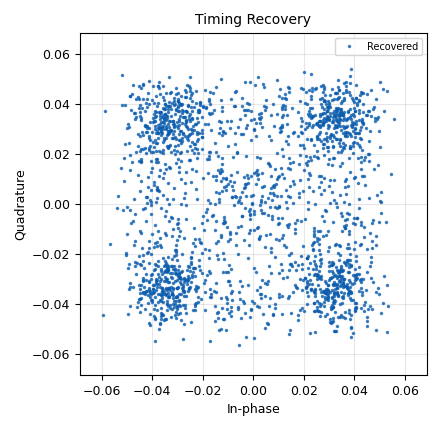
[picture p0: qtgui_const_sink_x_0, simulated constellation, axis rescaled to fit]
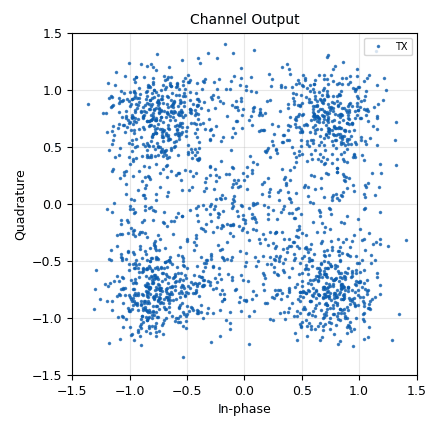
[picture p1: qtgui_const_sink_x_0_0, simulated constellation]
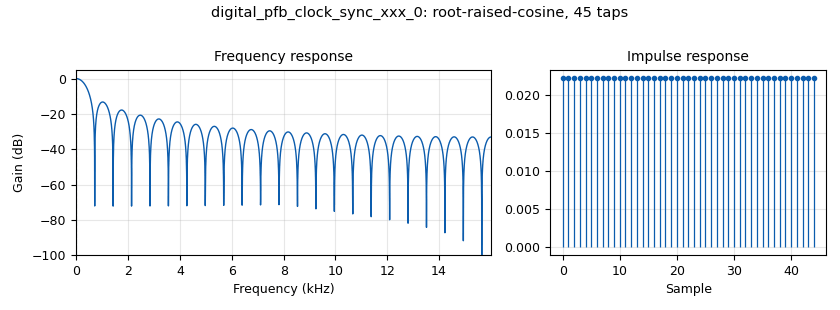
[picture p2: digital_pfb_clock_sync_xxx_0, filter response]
options:
  parameters:
    author: danny
    generate_options: qt_gui
    id: test
    output_language: python
    title: Not titled yet
  states: {}

blocks:
- name: alpha
  id: variable
  parameters:
    value: '0.35'
  states: {}
- name: freq_offset
  id: variable_qtgui_range
  parameters:
    label: Channel Frequency Offset
    orient: Qt.Horizontal
    start: '-100e-3'
    step: '1e-3'
    stop: '100e-3'
    value: '0'
  states: {}
- name: noise_volt
  id: variable_qtgui_range
  parameters:
    label: Channel Noise Voltage
    orient: Qt.Horizontal
    start: '0'
    step: '0.1'
    stop: '1'
    value: '.2'
  states: {}
- name: qpsk
  id: variable_constellation_rect
  parameters:
    const_points: '[-1-1j, -1+1j, 1+1j, 1-1j]'
    imag_sect: '2'
    real_sect: '2'
    rot_sym: '4'
    sym_map: '[0, 1, 3, 2]'
    w_imag_sect: '1'
    w_real_sect: '1'
  states: {}
- name: rrc_taps
  id: variable_rrc_filter_taps
  parameters:
    alpha: alpha
    gain: '1.0'
    ntaps: 11*sps
    samp_rate: samp_rate
    sym_rate: sps
  states: {}
- name: samp_rate
  id: variable
  parameters:
    value: '32000'
  states: {}
- name: sps
  id: variable
  parameters:
    value: '4'
  states: {}
- name: time_offset
  id: variable_qtgui_range
  parameters:
    label: Channel Time Offset
    orient: Qt.Horizontal
    start: '.999'
    step: '100e-6'
    stop: '1.001'
    value: '1.0005'
  states: {}
- name: timing_loop_bw
  id: variable_qtgui_range
  parameters:
    label: Timing Loop Bandwidth
    orient: Qt.Horizontal
    start: '0'
    step: '0.01'
    stop: '0.2'
    value: '0.0628'
  states: {}
- name: analog_random_source_x_0
  id: analog_random_source_x
  parameters:
    max: '256'
    min: '0'
    num_samps: '10000'
    repeat: 'True'
    type: byte
  states: {}
- name: blocks_throttle_0
  id: blocks_throttle
  parameters:
    samples_per_second: samp_rate
    type: complex
  states: {}
- name: channels_channel_model_0
  id: channels_channel_model
  parameters:
    epsilon: time_offset
    freq_offset: freq_offset
    noise_voltage: noise_volt
    seed: '0'
    taps: '1'
  states: {}
- name: digital_constellation_modulator_0
  id: digital_constellation_modulator
  parameters:
    constellation: qpsk
    differential: 'True'
    excess_bw: alpha
    samples_per_symbol: sps
  states: {}
- name: digital_pfb_clock_sync_xxx_0
  id: digital_pfb_clock_sync_xxx
  parameters:
    filter_size: '32'
    init_phase: '16'
    loop_bw: timing_loop_bw
    max_dev: '1.5'
    osps: '1'
    sps: '4.004'
    taps: rrc_taps
    type: ccf
  states: {}
- name: qtgui_const_sink_x_0
  id: qtgui_const_sink_x
  parameters:
    grid: 'True'
    label1: Recovered
    name: Timing Recovery
    size: '2048'
    type: complex
    xmax: '1.5'
    xmin: '-1.5'
    ymax: '1.5'
    ymin: '-1.5'
  states: {}
- name: qtgui_const_sink_x_0_0
  id: qtgui_const_sink_x
  parameters:
    grid: 'True'
    label1: TX
    name: Channel Output
    size: '2048'
    type: complex
    xmax: '1.5'
    xmin: '-1.5'
    ymax: '1.5'
    ymin: '-1.5'
  states: {}

connections:
- [analog_random_source_x_0, '0', digital_constellation_modulator_0, '0']
- [blocks_throttle_0, '0', channels_channel_model_0, '0']
- [channels_channel_model_0, '0', digital_pfb_clock_sync_xxx_0, '0']
- [channels_channel_model_0, '0', qtgui_const_sink_x_0_0, '0']
- [digital_constellation_modulator_0, '0', blocks_throttle_0, '0']
- [digital_pfb_clock_sync_xxx_0, '0', qtgui_const_sink_x_0, '0']

metadata:
  file_format: 1
